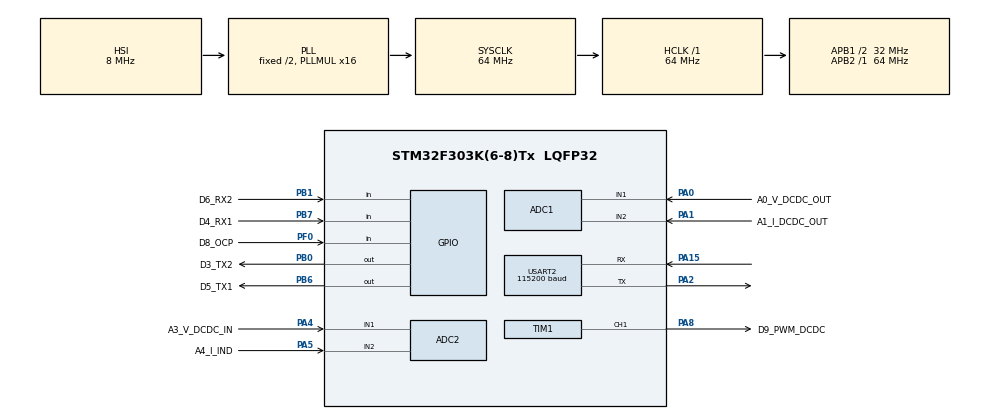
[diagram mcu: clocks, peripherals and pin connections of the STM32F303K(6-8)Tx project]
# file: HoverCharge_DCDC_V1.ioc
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ADC1.Channel-0\#ChannelRegularConversion=ADC_CHANNEL_1
ADC1.Channel-1\#ChannelRegularConversion=ADC_CHANNEL_1
ADC1.ClockPrescaler=ADC_CLOCK_SYNC_PCLK_DIV1
ADC1.DMAContinuousRequests=ENABLE
ADC1.ExternalTrigConv=ADC_EXTERNALTRIGCONV_T1_TRGO
ADC1.NbrOfConversion=2
ADC1.NbrOfConversionFlag=1
ADC1.Offset-0\#ChannelRegularConversion=0
ADC1.Offset-1\#ChannelRegularConversion=0
ADC1.OffsetNumber-0\#ChannelRegularConversion=ADC_OFFSET_NONE
ADC1.OffsetNumber-1\#ChannelRegularConversion=ADC_OFFSET_NONE
ADC1.Rank-0\#ChannelRegularConversion=1
ADC1.Rank-1\#ChannelRegularConversion=2
ADC1.SamplingTime-0\#ChannelRegularConversion=ADC_SAMPLETIME_1CYCLE_5
ADC1.SamplingTime-1\#ChannelRegularConversion=ADC_SAMPLETIME_1CYCLE_5
ADC1.SamplingTimeOPAMP-1\#ChannelRegularConversion=ADC_SAMPLETIME_61CYCLES_5
ADC1.SubFamily=STM32F303x8
ADC1.master=1
ADC2.Channel-0\#ChannelRegularConversion=ADC_CHANNEL_2
ADC2.Channel-1\#ChannelRegularConversion=ADC_CHANNEL_1
ADC2.ClockPrescaler=ADC_CLOCK_SYNC_PCLK_DIV1
ADC2.DMAContinuousRequests=ENABLE
ADC2.ExternalTrigConv=ADC_EXTERNALTRIGCONV_T1_TRGO
ADC2.NbrOfConversion=2
ADC2.NbrOfConversionFlag=1
ADC2.Offset-0\#ChannelRegularConversion=0
ADC2.Offset-1\#ChannelRegularConversion=0
ADC2.OffsetNumber-0\#ChannelRegularConversion=ADC_OFFSET_NONE
ADC2.OffsetNumber-1\#ChannelRegularConversion=ADC_OFFSET_NONE
ADC2.Rank-0\#ChannelRegularConversion=1
ADC2.Rank-1\#ChannelRegularConversion=2
ADC2.SamplingTime-0\#ChannelRegularConversion=ADC_SAMPLETIME_1CYCLE_5
ADC2.SamplingTime-1\#ChannelRegularConversion=ADC_SAMPLETIME_1CYCLE_5
ADC2.SamplingTimeOPAMP-1\#ChannelRegularConversion=ADC_SAMPLETIME_61CYCLES_5
ADC2.SubFamily=STM32F303x8
Dma.ADC1.0.Direction=DMA_PERIPH_TO_MEMORY
Dma.ADC1.0.Instance=DMA1_Channel1
Dma.ADC1.0.MemDataAlignment=DMA_MDATAALIGN_WORD
Dma.ADC1.0.MemInc=DMA_MINC_ENABLE
Dma.ADC1.0.Mode=DMA_CIRCULAR
Dma.ADC1.0.PeriphDataAlignment=DMA_PDATAALIGN_WORD
Dma.ADC1.0.PeriphInc=DMA_PINC_DISABLE
Dma.ADC1.0.Priority=DMA_PRIORITY_LOW
Dma.ADC2.1.Direction=DMA_PERIPH_TO_MEMORY
Dma.ADC2.1.Instance=DMA1_Channel2
Dma.ADC2.1.MemDataAlignment=DMA_MDATAALIGN_WORD
Dma.ADC2.1.MemInc=DMA_MINC_ENABLE
Dma.ADC2.1.Mode=DMA_CIRCULAR
Dma.ADC2.1.PeriphDataAlignment=DMA_PDATAALIGN_WORD
Dma.ADC2.1.PeriphInc=DMA_PINC_DISABLE
Dma.ADC2.1.Priority=DMA_PRIORITY_LOW
Dma.Request0=ADC1
Dma.Request1=ADC2
Mcu.Family=STM32F3
Mcu.Name=STM32F303K(6-8)Tx
Mcu.Package=LQFP32
NVIC.DMA1_Channel1_IRQn=true\:0\:0\:false\:false\:true\:false\:true\:true
NVIC.DMA1_Channel2_IRQn=true\:0\:0\:false\:false\:true\:false\:true\:true
NVIC.PriorityGroup=NVIC_PRIORITYGROUP_4
PA0.GPIO_Label=A0_V_DCDC_OUT
PA0.Mode=IN1-Single-Ended
PA0.Signal=ADC1_IN1
PA1.GPIO_Label=A1_I_DCDC_OUT
PA1.Mode=IN2-Single-Ended
PA1.Signal=ADC1_IN2
PA15.Mode=Asynchronous
PA15.Signal=USART2_RX
PA2.Mode=Asynchronous
PA2.Signal=USART2_TX
PA4.GPIO_Label=A3_V_DCDC_IN
PA4.Mode=IN1-Single-Ended
PA4.Signal=ADC2_IN1
PA5.GPIO_Label=A4_I_IND
PA5.Mode=IN2-Single-Ended
PA5.Signal=ADC2_IN2
PA8.GPIO_Label=D9_PWM_DCDC
PA8.Signal=S_TIM1_CH1
PB0.GPIO_Label=D3_TX2
PB0.Signal=GPIO_Output
PB1.GPIO_Label=D6_RX2
PB1.Signal=GPIO_Input
PB6.GPIO_Label=D5_TX1
PB6.Signal=GPIO_Output
PB7.GPIO_Label=D4_RX1
PB7.Signal=GPIO_Input
PF0\ /\ OSC_IN.GPIO_Label=D8_OCP
PF0\ /\ OSC_IN.Signal=GPIO_Input
ProjectManager.HeapSize=0x200
ProjectManager.StackSize=0x400
ProjectManager.TargetToolchain=STM32CubeIDE
RCC.AHBFreq_Value=64000000
RCC.APB1CLKDivider=RCC_HCLK_DIV2
RCC.APB1Freq_Value=32000000
RCC.APB1TimFreq_Value=64000000
RCC.APB2Freq_Value=64000000
RCC.APB2TimFreq_Value=64000000
RCC.CortexFreq_Value=64000000
RCC.HCLKFreq_Value=64000000
RCC.HSE_VALUE=8000000
RCC.HSI_VALUE=8000000
RCC.PLLMUL=RCC_PLL_MUL16
RCC.SYSCLKFreq_VALUE=64000000
RCC.SYSCLKSourceVirtual=RCC_SYSCLKSOURCE_PLLCLK
SH.S_TIM1_CH1.0=TIM1_CH1,PWM Generation1 CH1
TIM1.Channel-PWM\ Generation1\ CH1=TIM_CHANNEL_1
TIM1.CounterMode=TIM_COUNTERMODE_CENTERALIGNED1
TIM1.RepetitionCounter=1
TIM1.TIM_MasterOutputTrigger=TIM_TRGO_UPDATE
USART2.BaudRate=115200
USART2.VirtualMode-Asynchronous=VM_ASYNC
VP_TIM1_VS_ClockSourceINT.Mode=Internal
board=custom

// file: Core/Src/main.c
/* USER CODE BEGIN Header */
/**
  ******************************************************************************
  * @file           : main.c
  * @brief          : Main program body
  ******************************************************************************
  * @attention
  *
  * Copyright (c) 2024 STMicroelectronics.
  * All rights reserved.
  *
  * This software is licensed under terms that can be found in the LICENSE file
  * in the root directory of this software component.
  * If no LICENSE file comes with this software, it is provided AS-IS.
  *
  ******************************************************************************
  */
/* USER CODE END Header */
#include "main.h"

/* USER CODE BEGIN Includes */
#include "stdlib.h"
#include "stdio.h"
#include "string.h"
/* USER CODE END Includes */

ADC_HandleTypeDef hadc1;
ADC_HandleTypeDef hadc2;
DMA_HandleTypeDef hdma_adc1;
DMA_HandleTypeDef hdma_adc2;

TIM_HandleTypeDef htim1;

UART_HandleTypeDef huart2;

/* USER CODE BEGIN PV */

//UART
uint8_t TxStartMessage[] = "\r\n***** Group 1 - HoverCharge - 5XWF0 *****\r\n";

//ADC
uint32_t ADC1_Buff[2];
uint32_t ADC2_Buff[2];

uint32_t adc_val_1;
float V_DCDC_OUT=0.0f;
float Factor_ADC_V_OUT = 20.0f* (3.3f/4095.0f);

uint32_t adc_val_2;
float I_DCDC_OUT=0.0f;
float Factor_ADC_I_OUT =  (1.1f/4095.0f);

uint32_t adc_val_3;
float V_DCDC_IN=0.0f;
float Factor_ADC_V_IN = (3.3f/4095.0f);

uint32_t adc_val_4;
float I_IND=0.0f;
float Factor_ADC_I_IND = (3.3f/4095.0f);

//PWM
uint32_t PWM_Freq = 43000;
float PWM_DutyC = 50;
int32_t PWM_Period;
int32_t PWM_PulseWidth;
/* USER CODE END PV */

void SystemClock_Config(void);
static void MX_GPIO_Init(void);
static void MX_DMA_Init(void);
static void MX_TIM1_Init(void);
static void MX_USART2_UART_Init(void);
static void MX_ADC1_Init(void);
static void MX_ADC2_Init(void);

/* USER CODE BEGIN 0 */
#ifdef __GNUC__
	#define PUTCHAR_PROTOTYPE int __io_putchar(int ch)
#else
	#define PUTCHAR_PROTOTYPE int fputc(int ch, FILE *f)
#endif

PUTCHAR_PROTOTYPE
{
	HAL_UART_Transmit(&huart2, (uint8_t *)&ch, 1, 0xFFF);

	return ch;
}
/* USER CODE END 0 */

int main(void)
{

  /* MCU Configuration--------------------------------------------------------*/

  /* Reset of all peripherals, Initializes the Flash interface and the Systick. */
  HAL_Init();

  /* Configure the system clock */
  SystemClock_Config();

  /* Initialize all configured peripherals */
  MX_GPIO_Init();
  MX_DMA_Init();
  MX_TIM1_Init();
  MX_USART2_UART_Init();
  MX_ADC1_Init();
  MX_ADC2_Init();
  /* USER CODE BEGIN 2 */
  printf("%s", TxStartMessage);

      PWM_Period = 64000000/(2*PWM_Freq)-1;
      PWM_PulseWidth = (int)((PWM_Period*PWM_DutyC)/100);

      __HAL_TIM_SET_AUTORELOAD(&htim1, PWM_Period);					//Timer 1 config

       __HAL_TIM_SET_COMPARE(&htim1, TIM_CHANNEL_1, PWM_PulseWidth);	//Tim1 Channel 1 config
       HAL_TIM_PWM_Start(&htim1, TIM_CHANNEL_1);

      HAL_ADCEx_Calibration_Start(&hadc1, ADC_SINGLE_ENDED);				//ADC1 config
      HAL_ADC_Start_DMA(&hadc1, (uint32_t*)ADC1_Buff, 2);

      HAL_ADCEx_Calibration_Start(&hadc2, ADC_SINGLE_ENDED);				//ADC2 config
      HAL_ADC_Start_DMA(&hadc2, (uint32_t*)ADC2_Buff, 2);
  /* USER CODE END 2 */

  /* Infinite loop */
  /* USER CODE BEGIN WHILE */
  while (1)
  {
	  //PWM_DutyC = V_DCDC_OUT*111.11f;

	  	  // Conversion range 0-0.9V to 0-100%
	  	  PWM_PulseWidth = (int)((PWM_Period * PWM_DutyC)/100); //Hier is iets fout
	  	  __HAL_TIM_SET_COMPARE (&htim1, TIM_CHANNEL_1, PWM_PulseWidth);

	  	  printf("\r\n V_DCDC_IN: %.2f V |  V_DCDC_OUT: %.2f V | I_IND: %.2f A  |  I_DCDC_OUT: %.2f A  |  Duty Cycle: %.2f", V_DCDC_IN, V_DCDC_OUT, I_IND,I_DCDC_OUT, PWM_DutyC);
	  	  HAL_Delay(1);
    /* USER CODE END WHILE */

  }
}

void SystemClock_Config(void)
{
  RCC_OscInitTypeDef RCC_OscInitStruct = {0};
  RCC_ClkInitTypeDef RCC_ClkInitStruct = {0};
  RCC_PeriphCLKInitTypeDef PeriphClkInit = {0};

  /** Initializes the RCC Oscillators according to the specified parameters
  * in the RCC_OscInitTypeDef structure.
  */
  RCC_OscInitStruct.OscillatorType = RCC_OSCILLATORTYPE_HSI;
  RCC_OscInitStruct.HSIState = RCC_HSI_ON;
  RCC_OscInitStruct.HSICalibrationValue = RCC_HSICALIBRATION_DEFAULT;
  RCC_OscInitStruct.PLL.PLLState = RCC_PLL_ON;
  RCC_OscInitStruct.PLL.PLLSource = RCC_PLLSOURCE_HSI;
  RCC_OscInitStruct.PLL.PLLMUL = RCC_PLL_MUL16;
  if (HAL_RCC_OscConfig(&RCC_OscInitStruct) != HAL_OK)
  {
    Error_Handler();
  }

  /** Initializes the CPU, AHB and APB buses clocks
  */
  RCC_ClkInitStruct.ClockType = RCC_CLOCKTYPE_HCLK|RCC_CLOCKTYPE_SYSCLK
                              |RCC_CLOCKTYPE_PCLK1|RCC_CLOCKTYPE_PCLK2;
  RCC_ClkInitStruct.SYSCLKSource = RCC_SYSCLKSOURCE_PLLCLK;
  RCC_ClkInitStruct.AHBCLKDivider = RCC_SYSCLK_DIV1;
  RCC_ClkInitStruct.APB1CLKDivider = RCC_HCLK_DIV2;
  RCC_ClkInitStruct.APB2CLKDivider = RCC_HCLK_DIV1;

  if (HAL_RCC_ClockConfig(&RCC_ClkInitStruct, FLASH_LATENCY_2) != HAL_OK)
  {
    Error_Handler();
  }
  PeriphClkInit.PeriphClockSelection = RCC_PERIPHCLK_TIM1;
  PeriphClkInit.Tim1ClockSelection = RCC_TIM1CLK_HCLK;
  if (HAL_RCCEx_PeriphCLKConfig(&PeriphClkInit) != HAL_OK)
  {
    Error_Handler();
  }
}

static void MX_ADC1_Init(void)
{

  ADC_MultiModeTypeDef multimode = {0};
  ADC_ChannelConfTypeDef sConfig = {0};

  /** Common config
  */
  hadc1.Instance = ADC1;
  hadc1.Init.ClockPrescaler = ADC_CLOCK_SYNC_PCLK_DIV1;
  hadc1.Init.Resolution = ADC_RESOLUTION_12B;
  hadc1.Init.ScanConvMode = ADC_SCAN_ENABLE;
  hadc1.Init.ContinuousConvMode = DISABLE;
  hadc1.Init.DiscontinuousConvMode = DISABLE;
  hadc1.Init.ExternalTrigConvEdge = ADC_EXTERNALTRIGCONVEDGE_RISING;
  hadc1.Init.ExternalTrigConv = ADC_EXTERNALTRIGCONV_T1_TRGO;
  hadc1.Init.DataAlign = ADC_DATAALIGN_RIGHT;
  hadc1.Init.NbrOfConversion = 2;
  hadc1.Init.DMAContinuousRequests = ENABLE;
  hadc1.Init.EOCSelection = ADC_EOC_SINGLE_CONV;
  hadc1.Init.LowPowerAutoWait = DISABLE;
  hadc1.Init.Overrun = ADC_OVR_DATA_OVERWRITTEN;
  if (HAL_ADC_Init(&hadc1) != HAL_OK)
  {
    Error_Handler();
  }

  /** Configure the ADC multi-mode
  */
  multimode.Mode = ADC_MODE_INDEPENDENT;
  if (HAL_ADCEx_MultiModeConfigChannel(&hadc1, &multimode) != HAL_OK)
  {
    Error_Handler();
  }

  /** Configure Regular Channel
  */
  sConfig.Channel = ADC_CHANNEL_1;
  sConfig.Rank = ADC_REGULAR_RANK_1;
  sConfig.SingleDiff = ADC_SINGLE_ENDED;
  sConfig.SamplingTime = ADC_SAMPLETIME_1CYCLE_5;
  sConfig.OffsetNumber = ADC_OFFSET_NONE;
  sConfig.Offset = 0;
  if (HAL_ADC_ConfigChannel(&hadc1, &sConfig) != HAL_OK)
  {
    Error_Handler();
  }

  /** Configure Regular Channel
  */
  sConfig.Rank = ADC_REGULAR_RANK_2;
  if (HAL_ADC_ConfigChannel(&hadc1, &sConfig) != HAL_OK)
  {
    Error_Handler();
  }

}

static void MX_ADC2_Init(void)
{

  ADC_ChannelConfTypeDef sConfig = {0};

  /** Common config
  */
  hadc2.Instance = ADC2;
  hadc2.Init.ClockPrescaler = ADC_CLOCK_SYNC_PCLK_DIV1;
  hadc2.Init.Resolution = ADC_RESOLUTION_12B;
  hadc2.Init.ScanConvMode = ADC_SCAN_ENABLE;
  hadc2.Init.ContinuousConvMode = DISABLE;
  hadc2.Init.DiscontinuousConvMode = DISABLE;
  hadc2.Init.ExternalTrigConvEdge = ADC_EXTERNALTRIGCONVEDGE_RISING;
  hadc2.Init.ExternalTrigConv = ADC_EXTERNALTRIGCONV_T1_TRGO;
  hadc2.Init.DataAlign = ADC_DATAALIGN_RIGHT;
  hadc2.Init.NbrOfConversion = 2;
  hadc2.Init.DMAContinuousRequests = ENABLE;
  hadc2.Init.EOCSelection = ADC_EOC_SINGLE_CONV;
  hadc2.Init.LowPowerAutoWait = DISABLE;
  hadc2.Init.Overrun = ADC_OVR_DATA_OVERWRITTEN;
  if (HAL_ADC_Init(&hadc2) != HAL_OK)
  {
    Error_Handler();
  }

  /** Configure Regular Channel
  */
  sConfig.Channel = ADC_CHANNEL_2;
  sConfig.Rank = ADC_REGULAR_RANK_1;
  sConfig.SingleDiff = ADC_SINGLE_ENDED;
  sConfig.SamplingTime = ADC_SAMPLETIME_1CYCLE_5;
  sConfig.OffsetNumber = ADC_OFFSET_NONE;
  sConfig.Offset = 0;
  if (HAL_ADC_ConfigChannel(&hadc2, &sConfig) != HAL_OK)
  {
    Error_Handler();
  }

  /** Configure Regular Channel
  */
  sConfig.Channel = ADC_CHANNEL_1;
  sConfig.Rank = ADC_REGULAR_RANK_2;
  if (HAL_ADC_ConfigChannel(&hadc2, &sConfig) != HAL_OK)
  {
    Error_Handler();
  }

}

static void MX_TIM1_Init(void)
{

  TIM_ClockConfigTypeDef sClockSourceConfig = {0};
  TIM_MasterConfigTypeDef sMasterConfig = {0};
  TIM_OC_InitTypeDef sConfigOC = {0};
  TIM_BreakDeadTimeConfigTypeDef sBreakDeadTimeConfig = {0};

  htim1.Instance = TIM1;
  htim1.Init.Prescaler = 0;
  htim1.Init.CounterMode = TIM_COUNTERMODE_CENTERALIGNED1;
  htim1.Init.Period = 65535;
  htim1.Init.ClockDivision = TIM_CLOCKDIVISION_DIV1;
  htim1.Init.RepetitionCounter = 1;
  htim1.Init.AutoReloadPreload = TIM_AUTORELOAD_PRELOAD_DISABLE;
  if (HAL_TIM_Base_Init(&htim1) != HAL_OK)
  {
    Error_Handler();
  }
  sClockSourceConfig.ClockSource = TIM_CLOCKSOURCE_INTERNAL;
  if (HAL_TIM_ConfigClockSource(&htim1, &sClockSourceConfig) != HAL_OK)
  {
    Error_Handler();
  }
  if (HAL_TIM_PWM_Init(&htim1) != HAL_OK)
  {
    Error_Handler();
  }
  sMasterConfig.MasterOutputTrigger = TIM_TRGO_UPDATE;
  sMasterConfig.MasterOutputTrigger2 = TIM_TRGO2_RESET;
  sMasterConfig.MasterSlaveMode = TIM_MASTERSLAVEMODE_DISABLE;
  if (HAL_TIMEx_MasterConfigSynchronization(&htim1, &sMasterConfig) != HAL_OK)
  {
    Error_Handler();
  }
  sConfigOC.OCMode = TIM_OCMODE_PWM1;
  sConfigOC.Pulse = 0;
  sConfigOC.OCPolarity = TIM_OCPOLARITY_HIGH;
  sConfigOC.OCNPolarity = TIM_OCNPOLARITY_HIGH;
  sConfigOC.OCFastMode = TIM_OCFAST_DISABLE;
  sConfigOC.OCIdleState = TIM_OCIDLESTATE_RESET;
  sConfigOC.OCNIdleState = TIM_OCNIDLESTATE_RESET;
  if (HAL_TIM_PWM_ConfigChannel(&htim1, &sConfigOC, TIM_CHANNEL_1) != HAL_OK)
  {
    Error_Handler();
  }
  sBreakDeadTimeConfig.OffStateRunMode = TIM_OSSR_DISABLE;
  sBreakDeadTimeConfig.OffStateIDLEMode = TIM_OSSI_DISABLE;
  sBreakDeadTimeConfig.LockLevel = TIM_LOCKLEVEL_OFF;
  sBreakDeadTimeConfig.DeadTime = 0;
  sBreakDeadTimeConfig.BreakState = TIM_BREAK_DISABLE;
  sBreakDeadTimeConfig.BreakPolarity = TIM_BREAKPOLARITY_HIGH;
  sBreakDeadTimeConfig.BreakFilter = 0;
  sBreakDeadTimeConfig.Break2State = TIM_BREAK2_DISABLE;
  sBreakDeadTimeConfig.Break2Polarity = TIM_BREAK2POLARITY_HIGH;
  sBreakDeadTimeConfig.Break2Filter = 0;
  sBreakDeadTimeConfig.AutomaticOutput = TIM_AUTOMATICOUTPUT_DISABLE;
  if (HAL_TIMEx_ConfigBreakDeadTime(&htim1, &sBreakDeadTimeConfig) != HAL_OK)
  {
    Error_Handler();
  }
  HAL_TIM_MspPostInit(&htim1);

}

static void MX_USART2_UART_Init(void)
{

  huart2.Instance = USART2;
  huart2.Init.BaudRate = 115200;
  huart2.Init.WordLength = UART_WORDLENGTH_8B;
  huart2.Init.StopBits = UART_STOPBITS_1;
  huart2.Init.Parity = UART_PARITY_NONE;
  huart2.Init.Mode = UART_MODE_TX_RX;
  huart2.Init.HwFlowCtl = UART_HWCONTROL_NONE;
  huart2.Init.OverSampling = UART_OVERSAMPLING_16;
  huart2.Init.OneBitSampling = UART_ONE_BIT_SAMPLE_DISABLE;
  huart2.AdvancedInit.AdvFeatureInit = UART_ADVFEATURE_NO_INIT;
  if (HAL_UART_Init(&huart2) != HAL_OK)
  {
    Error_Handler();
  }

}

static void MX_DMA_Init(void)
{

  /* DMA controller clock enable */
  __HAL_RCC_DMA1_CLK_ENABLE();

  /* DMA interrupt init */
  /* DMA1_Channel1_IRQn interrupt configuration */
  HAL_NVIC_SetPriority(DMA1_Channel1_IRQn, 0, 0);
  HAL_NVIC_EnableIRQ(DMA1_Channel1_IRQn);
  /* DMA1_Channel2_IRQn interrupt configuration */
  HAL_NVIC_SetPriority(DMA1_Channel2_IRQn, 0, 0);
  HAL_NVIC_EnableIRQ(DMA1_Channel2_IRQn);

}

static void MX_GPIO_Init(void)
{
  GPIO_InitTypeDef GPIO_InitStruct = {0};

  /* GPIO Ports Clock Enable */
  __HAL_RCC_GPIOF_CLK_ENABLE();
  __HAL_RCC_GPIOA_CLK_ENABLE();
  __HAL_RCC_GPIOB_CLK_ENABLE();

  /*Configure GPIO pin Output Level */
  HAL_GPIO_WritePin(GPIOB, D3_TX2_Pin|D5_TX1_Pin, GPIO_PIN_RESET);

  /*Configure GPIO pin : D8_OCP_Pin */
  GPIO_InitStruct.Pin = D8_OCP_Pin;
  GPIO_InitStruct.Mode = GPIO_MODE_INPUT;
  GPIO_InitStruct.Pull = GPIO_NOPULL;
  HAL_GPIO_Init(D8_OCP_GPIO_Port, &GPIO_InitStruct);

  /*Configure GPIO pins : D3_TX2_Pin D5_TX1_Pin */
  GPIO_InitStruct.Pin = D3_TX2_Pin|D5_TX1_Pin;
  GPIO_InitStruct.Mode = GPIO_MODE_OUTPUT_PP;
  GPIO_InitStruct.Pull = GPIO_NOPULL;
  GPIO_InitStruct.Speed = GPIO_SPEED_FREQ_LOW;
  HAL_GPIO_Init(GPIOB, &GPIO_InitStruct);

  /*Configure GPIO pins : D6_RX2_Pin D4_RX1_Pin */
  GPIO_InitStruct.Pin = D6_RX2_Pin|D4_RX1_Pin;
  GPIO_InitStruct.Mode = GPIO_MODE_INPUT;
  GPIO_InitStruct.Pull = GPIO_NOPULL;
  HAL_GPIO_Init(GPIOB, &GPIO_InitStruct);

}

/* USER CODE BEGIN 4 */
void HAL_ADC_ConvCpltCallback(ADC_HandleTypeDef* hadc)
{
	UNUSED(hadc);

		adc_val_1 = ADC1_Buff[0];
		V_DCDC_OUT = ((float)adc_val_1)*Factor_ADC_V_OUT;

		adc_val_2 = ADC1_Buff[1];
		I_DCDC_OUT = ((float)adc_val_2)*Factor_ADC_I_OUT;

		adc_val_3 = ADC2_Buff[0];
		V_DCDC_IN = ((float)adc_val_3)*Factor_ADC_V_IN;

		adc_val_4 = ADC2_Buff[1];
		I_IND = ((float)adc_val_4)*Factor_ADC_I_IND;

}
/* USER CODE END 4 */

void Error_Handler(void)
{
  __disable_irq();
  while (1)
  {
  }
}
